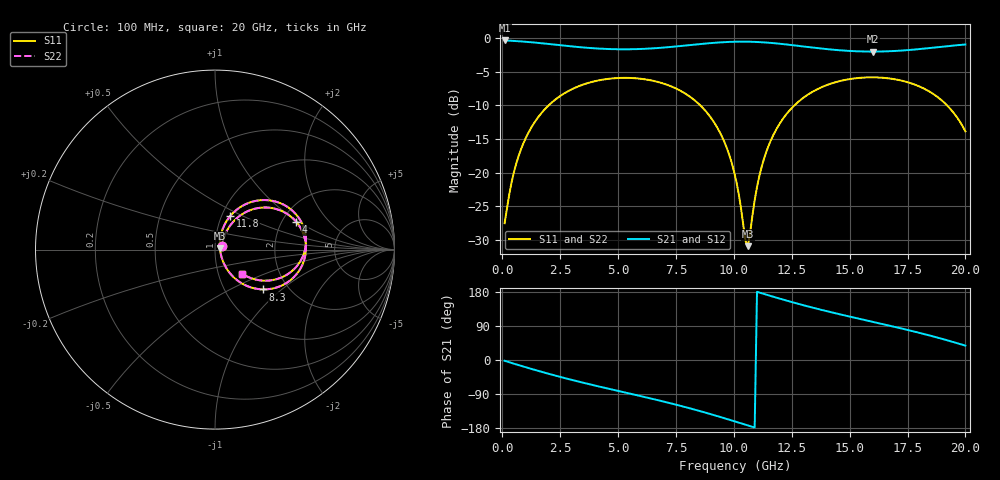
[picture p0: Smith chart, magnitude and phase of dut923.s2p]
! Touchstone file exported from HFSS 2026.1.0
!  File:  C:/ffzhzh/LocalFiles/Ansys_Project_Files/temp_train_TSV_RDL_923_1783279502_5512.aedt
!  Generated:  03:39:43 AM Jul  6, 2026
!  Design:  TSV_RDL
!  Project:  temp_train_TSV_RDL_923_1783279502_5512
! Variables:
!  h_bsmrdl = 2.37um
!  h_ox = 20um
!  h_rdl = 5um
!  h_sub = 80.98um
!  h_tmrdl = 2.85um
!  h_tsv = 80.98um
!  h_via = 3um
!  l_bsmrdl = 363.92um
!  l_sub = 5385.3um
!  l_tmrdl = 942.26um
!  m_sub = 200um
!  pitch = 38.89um
!  r_tsv = 6.29um
!  s_tmrdl = 10um
!  w_bsmrdl = 25.95um
!  w_sub = 500um
!  w_tmrdl = 15.55um
!  x_tsv_center1 = 950.035um
!  x_tsv_center2 = 1339.905um
!  x_tsv_center3 = 2297.715um
!  x_tsv_center4 = 2687.585um
!  x_tsv_center5 = 3645.395um
!  x_tsv_center6 = 4035.265um
# GHz S MA R 50.000000
! Terminal data exported
! Port[1] = TM_RDL1_1_T1
! Port[2] = TM_RDL5_1_T1
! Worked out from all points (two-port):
!   200 points, 100 MHz to 20 GHz, reference 50 ohm
!   highest |S21| = -0.33 dB at 100 MHz (marker M1); lowest = -2.0 dB at 16 GHz (marker M2)
!   |S21| within 3 dB of the highest: start of sweep to end of sweep
!   lowest |S11| = -31.0 dB at 10.6 GHz (marker M3), VSWR 1.06, Z = 52.8 + j0.662 ohm
!   |S11| at or under -10 dB: start of sweep to 2.001 GHz; 8.551 GHz to 12.62 GHz (4.065 GHz wide, 38.4 % of centre); 19.21 GHz to end of sweep
!   |S22| runs from -30.9 to -5.8 dB; largest |S21 - S12| = 1.6e-14
!   S11 on the Smith chart (normalised r, x): 100 MHz: 1.08, +0.04; 4 GHz: 2.39, +0.95; 8.3 GHz: 1.50, -0.75; 11.8 GHz: 1.10, +0.43; 20 GHz: 1.30, -0.36
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0.1  0.04194 25.4  0.9626 -2.0  0.9626 -2.0  0.04194 25.4
! Gamma 0 0 0 0
! Port Impedance 50 0 50 0
0.6  0.1161 57.4  0.9524 -11.6  0.9524 -11.6  0.1161 57.4
1.2  0.2085 55.5  0.9353 -22.5  0.9353 -22.5  0.2085 55.5
2.2  0.3393 43.3  0.8989 -39.7  0.8989 -39.7  0.3393 43.3
3.5  0.4525 25.5  0.8534 -60.1  0.8534 -60.1  0.4525 25.5
4  0.4789 18.7  0.8408 -67.4  0.8408 -67.4  0.4789 18.8
5.4  0.5068 0.3  0.8273 -87.2  0.8273 -87.2  0.5068 0.3
6.8  0.4686 -18.4  0.8476 -107.2  0.8476 -107.2  0.4685 -18.4
8.3  0.3458 -39.9  0.8964 -130.8  0.8964 -130.8  0.3458 -39.8
9.4  0.1986 -55.1  0.9311 -150.1  0.9311 -150.1  0.1986 -55.0
10.1  0.08703 -57.0  0.9424 -163.1  0.9424 -163.1  0.08708 -56.8
10.5  0.03113 -18.9  0.9432 -170.7  0.9432 -170.7  0.0314 -18.5
10.6  0.02829 12.8  0.9427 -172.5  0.9427 -172.5  0.02862 12.8
11.1  0.09395 68.6  0.936 178.0  0.936 178.0  0.09409 68.4
11.8  0.2046 65.7  0.9165 165.2  0.9165 165.2  0.2047 65.6
12.5  0.3019 56.4  0.8895 152.9  0.8895 152.9  0.3019 56.3
13.4  0.3996 43.6  0.8523 138.2  0.8523 138.2  0.3996 43.6
14.8  0.4892 24.6  0.8083 117.4  0.8083 117.4  0.4892 24.6
16  0.5114 9.2  0.7954 100.7  0.7954 100.7  0.5114 9.2
16.7  0.5023 0.3  0.7999 90.9  0.7999 90.9  0.5022 0.3
18.7  0.3756 -26.3  0.854 60.7  0.854 60.7  0.3755 -26.3
20  0.2025 -41.6  0.8977 37.9  0.8977 37.9  0.2023 -41.7
